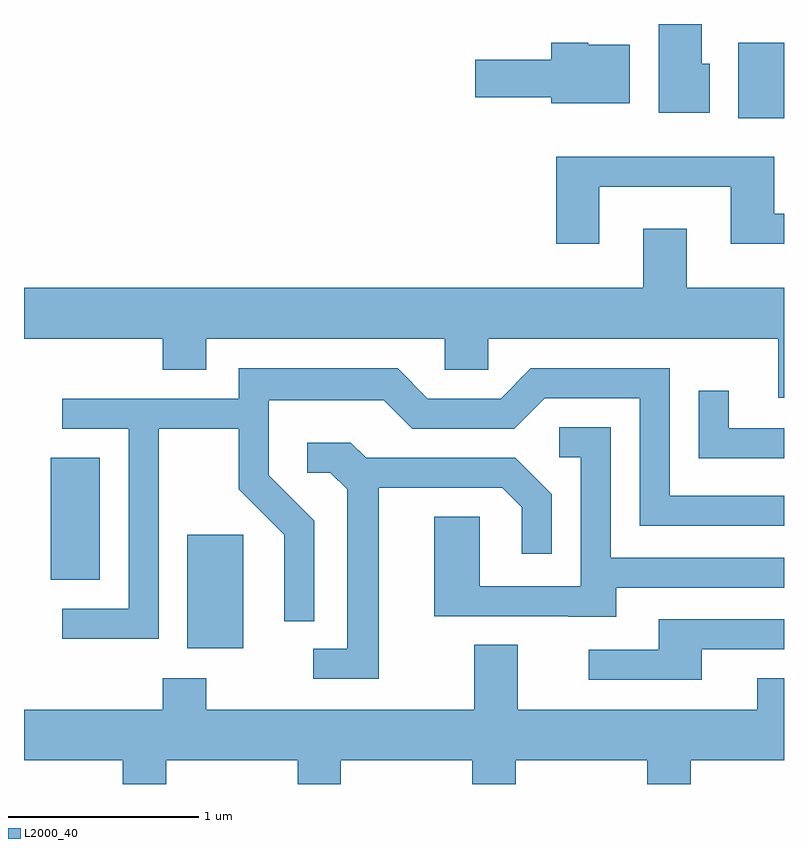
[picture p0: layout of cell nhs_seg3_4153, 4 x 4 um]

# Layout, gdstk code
import gdstk
lib = gdstk.Library(unit=1e-6, precision=1e-09)
def R(c, l, rs):  # rectangles x0, y0, x1, y1
    for r in rs: c.add(gdstk.rectangle(r[:2], r[2:], *l))
def P(c, l, *ps):  # polygons
    for p in ps: c.add(gdstk.Polygon(p, *l))
L2000_40 = (2000, 40)

nhs_seg3_4153 = lib.new_cell('nhs_seg3_4153')
R(nhs_seg3_4153, L2000_40, [(308.471,1126.606,308.764,1127.204), (307.751,1126.966,308.009,1127.609), (311.371,1129.396,311.611,1129.794)])
P(nhs_seg3_4153, L2000_40, [(311.219,1129.684),(311.179,1129.684),(311.179,1129.892),(310.951,1129.892),(310.951,1129.426),(311.219,1129.426)],
  [(310.799,1129.784),(310.58,1129.784),(310.58,1129.794),(310.386,1129.794),(310.386,1129.704),(309.986,1129.704),(309.986,1129.506),(310.386,1129.506),(310.386,1129.476),(310.799,1129.476)],
  [(310.639,1129.036),(311.331,1129.036),(311.331,1128.736),(311.611,1128.736),(311.611,1128.894),(311.559,1128.894),(311.559,1129.194),(310.411,1129.194),(310.411,1128.736),(310.639,1128.736)],
  [(311.611,1128.504),(311.099,1128.504),(311.099,1128.814),(310.871,1128.814),(310.871,1128.504),(307.611,1128.504),(307.611,1128.236),(308.341,1128.236),(308.341,1128.071),(308.569,1128.071),(308.569,1128.236),(309.826,1128.236),(309.826,1128.071),(310.054,1128.071),(310.054,1128.236),(311.581,1128.236),(311.581,1127.926),(311.611,1127.926)],
  [(308.319,1127.761),(308.741,1127.761),(308.741,1127.444),(308.981,1127.204),(308.981,1126.748),(309.139,1126.748),(309.139,1127.277),(308.899,1127.517),(308.899,1127.911),(309.504,1127.911),(309.654,1127.761),(310.192,1127.761),(310.352,1127.921),(310.851,1127.921),(310.851,1127.251),(311.611,1127.251),(311.611,1127.409),(311.009,1127.409),(311.009,1128.079),(310.279,1128.079),(310.119,1127.919),(309.737,1127.919),(309.577,1128.079),(308.741,1128.079),(308.741,1127.919),(307.813,1127.919),(307.813,1127.761),(308.161,1127.761),(308.161,1126.814),(307.813,1126.814),(307.813,1126.656),(308.319,1126.656)],
  [(311.611,1127.764),(311.319,1127.764),(311.319,1127.963),(311.161,1127.963),(311.161,1127.606),(311.611,1127.606)],
  [(310.729,1126.926),(311.611,1126.926),(311.611,1127.084),(310.699,1127.084),(310.699,1127.769),(310.428,1127.769),(310.428,1127.611),(310.541,1127.611),(310.541,1126.934),(310.009,1126.934),(310.009,1127.299),(309.771,1127.299),(309.771,1126.776),(310.475,1126.776),(310.475,1126.771),(310.729,1126.771)],
  [(309.479,1127.451),(310.129,1127.451),(310.231,1127.349),(310.231,1127.103),(310.389,1127.103),(310.389,1127.417),(310.197,1127.609),(309.412,1127.609),(309.332,1127.689),(309.103,1127.689),(309.103,1127.531),(309.224,1127.531),(309.311,1127.444),(309.311,1126.604),(309.133,1126.604),(309.133,1126.446),(309.479,1126.446)],
  [(311.179,1126.601),(311.611,1126.601),(311.611,1126.759),(310.951,1126.759),(310.951,1126.599),(310.583,1126.599),(310.583,1126.441),(311.179,1126.441)],
  [(308.341,1126.284),(307.611,1126.284),(307.611,1126.016),(308.131,1126.016),(308.131,1125.892),(308.359,1125.892),(308.359,1126.016),(309.051,1126.016),(309.051,1125.892),(309.279,1125.892),(309.279,1126.016),(309.971,1126.016),(309.971,1125.892),(310.199,1125.892),(310.199,1126.016),(310.891,1126.016),(310.891,1125.892),(311.119,1125.892),(311.119,1126.016),(311.611,1126.016),(311.611,1126.449),(311.471,1126.449),(311.471,1126.284),(310.209,1126.284),(310.209,1126.624),(309.981,1126.624),(309.981,1126.284),(308.569,1126.284),(308.569,1126.449),(308.341,1126.449)])

lib.write_gds('nhs_seg3_4153.gds')
